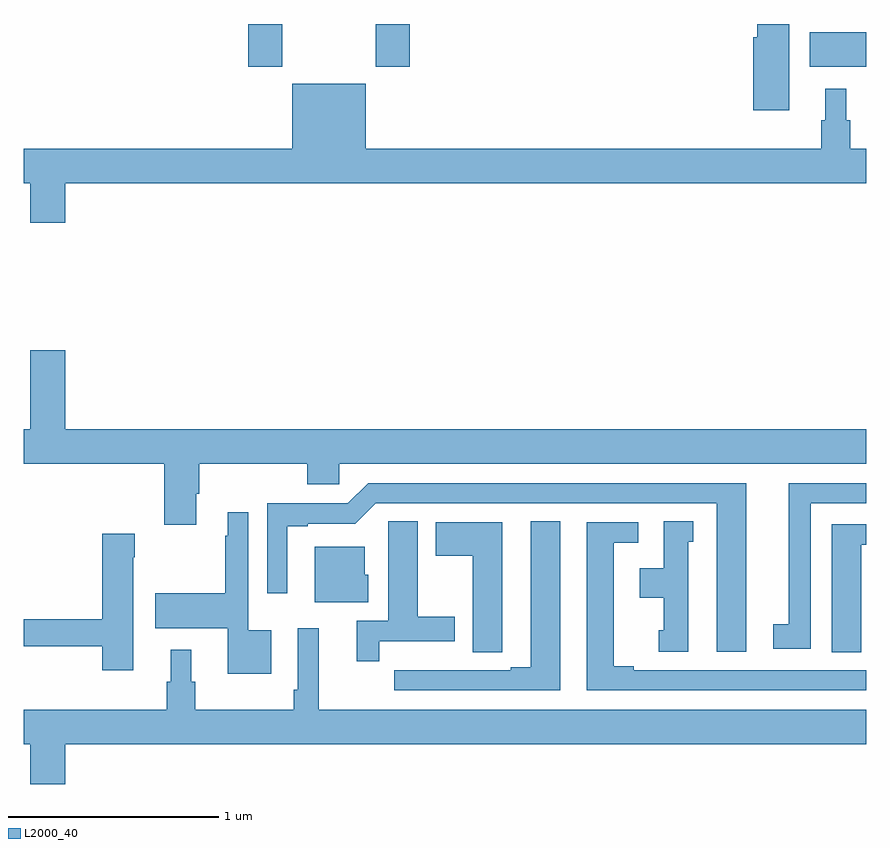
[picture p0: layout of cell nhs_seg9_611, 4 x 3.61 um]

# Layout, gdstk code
import gdstk
lib = gdstk.Library(unit=1e-6, precision=1e-09)
def R(c, l, rs):  # rectangles x0, y0, x1, y1
    for r in rs: c.add(gdstk.rectangle(r[:2], r[2:], *l))
def P(c, l, *ps):  # polygons
    for p in ps: c.add(gdstk.Polygon(p, *l))
L2000_40 = (2000, 40)

nhs_seg9_611 = lib.new_cell('nhs_seg9_611')
R(nhs_seg9_611, L2000_40, [(144.732,1206.296,145,1206.462), (142.067,1206.297,142.227,1206.5), (142.672,1206.297,142.832,1206.5)])
P(nhs_seg9_611, L2000_40, [(144.634,1206.5),(144.482,1206.5),(144.482,1206.438),(144.464,1206.438),(144.464,1206.09),(144.634,1206.09)],
  [(141.196,1205.744),(145,1205.744),(145,1205.908),(144.923,1205.908),(144.923,1206.042),(144.904,1206.042),(144.904,1206.193),(144.806,1206.193),(144.806,1206.042),(144.787,1206.042),(144.787,1205.908),(142.624,1205.908),(142.624,1206.217),(142.274,1206.217),(142.274,1205.908),(141,1205.908),(141,1205.744),(141.032,1205.744),(141.032,1205.556),(141.196,1205.556)],
  [(141.82,1204.27),(141.833,1204.27),(141.833,1204.412),(142.346,1204.412),(142.346,1204.314),(142.497,1204.314),(142.497,1204.412),(145,1204.412),(145,1204.576),(141.196,1204.576),(141.196,1204.951),(141.032,1204.951),(141.032,1204.576),(141,1204.576),(141,1204.412),(141.668,1204.412),(141.668,1204.122),(141.82,1204.122)],
  [(144.43,1204.32),(142.635,1204.32),(142.539,1204.224),(142.155,1204.224),(142.155,1203.798),(142.252,1203.798),(142.252,1204.116),(142.348,1204.116),(142.348,1204.128),(142.575,1204.128),(142.671,1204.224),(144.29,1204.224),(144.29,1203.519),(144.43,1203.519)],
  [(144.736,1204.224),(145,1204.224),(145,1204.32),(144.632,1204.32),(144.632,1203.65),(144.558,1203.65),(144.558,1203.534),(144.736,1203.534)],
  [(142.174,1203.622),(142.065,1203.622),(142.065,1204.183),(141.968,1204.183),(141.968,1204.07),(141.957,1204.07),(141.957,1203.798),(141.624,1203.798),(141.624,1203.632),(141.968,1203.632),(141.968,1203.416),(142.174,1203.416)],
  [(144.154,1204.041),(144.178,1204.041),(144.178,1204.139),(144.038,1204.139),(144.038,1203.916),(143.924,1203.916),(143.924,1203.776),(144.038,1203.776),(144.038,1203.621),(144.014,1203.621),(144.014,1203.519),(144.154,1203.519)],
  [(142.688,1203.57),(143.047,1203.57),(143.047,1203.687),(142.87,1203.687),(142.87,1204.139),(142.731,1204.139),(142.731,1204.028),(142.73,1204.028),(142.73,1203.666),(142.58,1203.666),(142.58,1203.474),(142.688,1203.474)],
  [(143.548,1204.139),(143.408,1204.139),(143.408,1203.447),(143.312,1203.447),(143.312,1203.432),(143.036,1203.432),(143.036,1203.433),(142.87,1203.433),(142.87,1203.432),(142.758,1203.432),(142.758,1203.336),(143.548,1203.336)],
  [(143.271,1203.625),(143.272,1203.625),(143.272,1204.135),(142.955,1204.135),(142.955,1203.976),(143.132,1203.976),(143.132,1203.517),(143.271,1203.517)],
  [(145,1203.432),(143.896,1203.432),(143.896,1203.452),(143.8,1203.452),(143.8,1204.038),(143.917,1204.038),(143.917,1204.134),(143.672,1204.134),(143.672,1203.336),(145,1203.336)],
  [(144.975,1203.625),(144.976,1203.625),(144.976,1204.028),(145,1204.028),(145,1204.125),(144.836,1204.125),(144.836,1203.517),(144.975,1203.517)],
  [(141.52,1203.968),(141.528,1203.968),(141.528,1204.081),(141.374,1204.081),(141.374,1203.674),(141,1203.674),(141,1203.546),(141.374,1203.546),(141.374,1203.432),(141.52,1203.432)],
  [(142.636,1203.885),(142.618,1203.885),(142.618,1204.018),(142.382,1204.018),(142.382,1203.755),(142.636,1203.755)],
  [(141.196,1203.08),(145,1203.08),(145,1203.244),(142.4,1203.244),(142.4,1203.631),(142.302,1203.631),(142.302,1203.34),(142.282,1203.34),(142.282,1203.244),(141.815,1203.244),(141.815,1203.378),(141.796,1203.378),(141.796,1203.529),(141.698,1203.529),(141.698,1203.378),(141.679,1203.378),(141.679,1203.244),(141,1203.244),(141,1203.08),(141.032,1203.08),(141.032,1202.892),(141.196,1202.892)])

lib.write_gds('nhs_seg9_611.gds')
